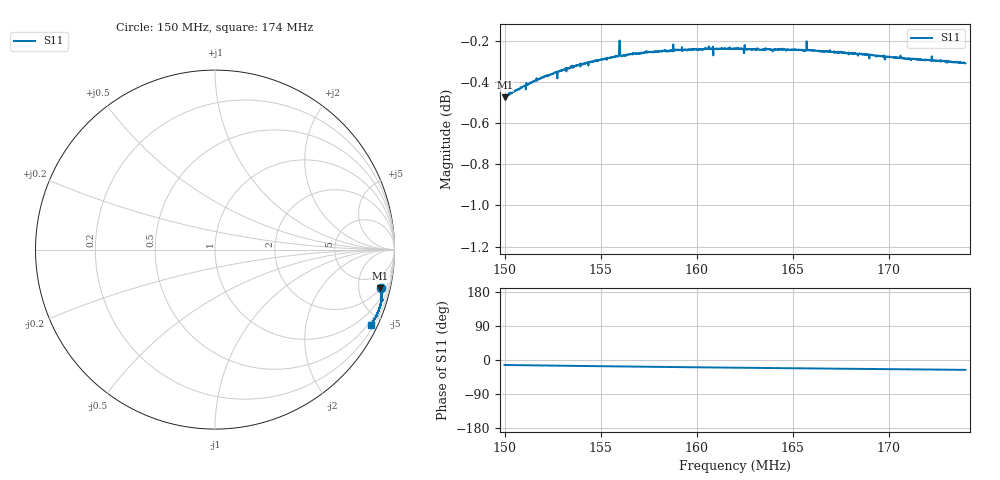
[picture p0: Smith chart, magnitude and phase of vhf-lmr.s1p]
! Calibrated averaged scanner-service zoom
# Hz S RI R 50
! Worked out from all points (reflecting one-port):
!   2001 points, 150 MHz to 174 MHz, reference 50 ohm
!   lowest |S11| = -0.5 dB at 150 MHz (marker M1), VSWR 36.59, Z = 98.3 - j410 ohm
!   phase of S11 starts at -13 deg and turns -13 deg over the sweep
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1.5e8  0.9221 -0.2158
1.50024e8  0.9219 -0.2158
1.50948e8  0.925 -0.2267
1.51128e8  0.9276 -0.2252
1.51224e8  0.9255 -0.2297
1.51272e8  0.9258 -0.2305
1.51548e8  0.9266 -0.2337
1.53e8  0.928 -0.2502
1.54212e8  0.9282 -0.2635
1.55832e8  0.9271 -0.2808
1.55892e8  0.927 -0.2815
1.56e8  0.9282 -0.2813
1.56096e8  0.9265 -0.2834
1.56144e8  0.9264 -0.2841
1.5618e8  0.9266 -0.2845
1.5738e8  0.9254 -0.2965
1.59e8  0.9211 -0.3117
1.60476e8  0.9173 -0.3249
1.62e8  0.9128 -0.3372
1.6236e8  0.9112 -0.3403
1.65e8  0.9031 -0.3606
1.65588e8  0.9009 -0.3651
1.65852e8  0.9001 -0.3671
1.68e8  0.8918 -0.3827
1.69284e8  0.8864 -0.3919
1.71e8  0.8799 -0.4025
1.72176e8  0.8752 -0.4104
1.74e8  0.8674 -0.4228
